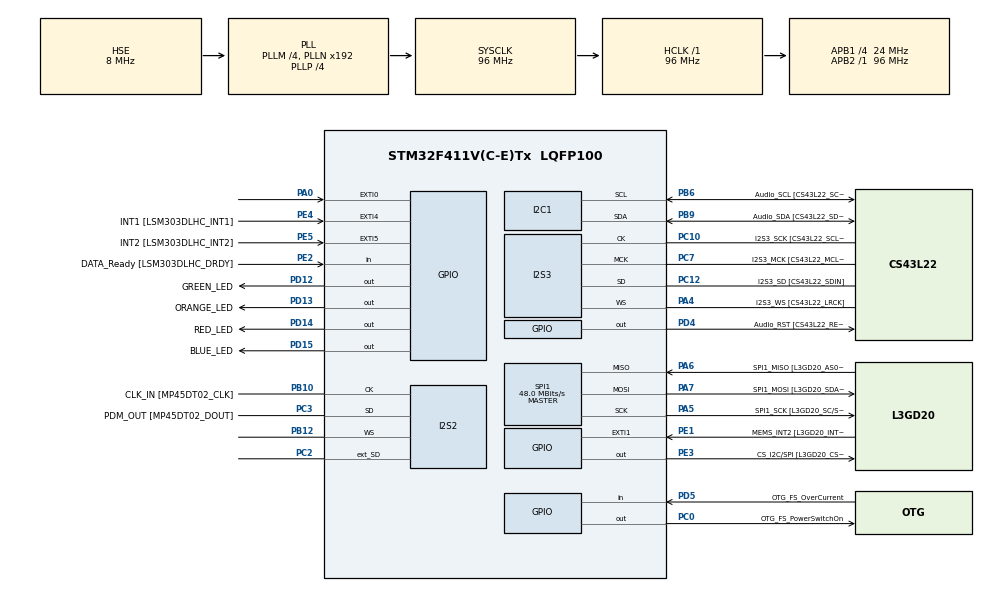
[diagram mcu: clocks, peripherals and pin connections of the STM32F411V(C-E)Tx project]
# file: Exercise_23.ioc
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FREERTOS.Tasks01=Orange_LED_Task,0,128,Start_Orange_LED_Task,Default,NULL,Dynamic,NULL,NULL;Green_LED_Task,0,128,Start_Green_LED_Task,Default,NULL,Dynamic,NULL,NULL;Deferred_Task,-1,128,Start_Deferred_Task,Default,NULL,Dynamic,NULL,NULL
I2S2.AudioFreq=I2S_AUDIOFREQ_96K
I2S2.ErrorAudioFreq=0.15 %
I2S2.FullDuplexMode=I2S_FULLDUPLEXMODE_ENABLE
I2S2.Instance=SPI$Index
I2S2.RealAudioFreq=96.153 KHz
I2S2.VirtualMode=I2S_MODE_MASTER
I2S3.AudioFreq=I2S_AUDIOFREQ_96K
I2S3.ErrorAudioFreq=-6.99 %
I2S3.FullDuplexMode=I2S_FULLDUPLEXMODE_DISABLE
I2S3.Instance=SPI$Index
I2S3.RealAudioFreq=89.285 KHz
I2S3.VirtualMode=I2S_MODE_MASTER
Mcu.Family=STM32F4
Mcu.Name=STM32F411V(C-E)Tx
Mcu.Package=LQFP100
NVIC.EXTI0_IRQn=true\:5\:0\:false\:false\:true\:true\:true\:true
NVIC.PriorityGroup=NVIC_PRIORITYGROUP_4
NVIC.TIM1_UP_TIM10_IRQn=true\:0\:0\:false\:false\:true\:false\:false\:true
NVIC.TimeBase=TIM1_UP_TIM10_IRQn
NVIC.TimeBaseIP=TIM1
PA0-WKUP.Signal=GPXTI0
PA10.GPIO_Label=OTG_FS_ID
PA10.Signal=USB_OTG_FS_ID
PA11.GPIO_Label=OTG_FS_DM
PA11.Signal=USB_OTG_FS_DM
PA12.GPIO_Label=OTG_FS_DP
PA12.Signal=USB_OTG_FS_DP
PA13.GPIO_Label=SWDIO
PA13.Mode=Serial_Wire
PA13.Signal=SYS_JTMS-SWDIO
PA14.GPIO_Label=SWCLK
PA14.Mode=Serial_Wire
PA14.Signal=SYS_JTCK-SWCLK
PA4.GPIO_Label=I2S3_WS [CS43L22_LRCK]
PA4.GPIO_Mode=GPIO_MODE_AF_PP
PA4.GPIO_PuPd=GPIO_NOPULL
PA4.GPIO_Speed=GPIO_SPEED_FREQ_LOW
PA4.Mode=Half_Duplex_Master
PA4.Signal=I2S3_WS
PA5.GPIO_Label=SPI1_SCK [L3GD20_SC/SPC]
PA5.Mode=Full_Duplex_Master
PA5.Signal=SPI1_SCK
PA6.GPIO_Label=SPI1_MISO [L3GD20_AS0/SDO]
PA6.Mode=Full_Duplex_Master
PA6.Signal=SPI1_MISO
PA7.GPIO_Label=SPI1_MOSI [L3GD20_SDA/SDI/SDO]
PA7.Mode=Full_Duplex_Master
PA7.Signal=SPI1_MOSI
PA9.GPIO_Label=VBUS_FS
PA9.Signal=USB_OTG_FS_VBUS
PB10.GPIO_Label=CLK_IN [MP45DT02_CLK]
PB10.Mode=Full_Duplex_Master
PB10.Signal=I2S2_CK
PB12.Mode=Full_Duplex_Master
PB12.Signal=I2S2_WS
PB3.GPIO_Label=SWO
PB3.Signal=SYS_JTDO-SWO
PB6.GPIO_Label=Audio_SCL [CS43L22_SCL]
PB6.GPIO_Mode=GPIO_MODE_AF_OD
PB6.GPIO_PuPd=GPIO_NOPULL
PB6.GPIO_Speed=GPIO_SPEED_FREQ_LOW
PB6.Mode=I2C
PB6.Signal=I2C1_SCL
PB9.GPIO_Label=Audio_SDA [CS43L22_SDA]
PB9.GPIO_Mode=GPIO_MODE_AF_OD
PB9.GPIO_PuPd=GPIO_NOPULL
PB9.GPIO_Speed=GPIO_SPEED_FREQ_LOW
PB9.Mode=I2C
PB9.Signal=I2C1_SDA
PC0.GPIO_Label=OTG_FS_PowerSwitchOn
PC0.PinState=GPIO_PIN_SET
PC0.Signal=GPIO_Output
PC10.GPIO_Label=I2S3_SCK [CS43L22_SCLK]
PC10.GPIO_Mode=GPIO_MODE_AF_PP
PC10.GPIO_PuPd=GPIO_NOPULL
PC10.GPIO_Speed=GPIO_SPEED_FREQ_LOW
PC10.Mode=Half_Duplex_Master
PC10.Signal=I2S3_CK
PC12.GPIO_Label=I2S3_SD [CS43L22_SDIN]
PC12.GPIO_Mode=GPIO_MODE_AF_PP
PC12.GPIO_PuPd=GPIO_NOPULL
PC12.GPIO_Speed=GPIO_SPEED_FREQ_LOW
PC12.Mode=Half_Duplex_Master
PC12.Signal=I2S3_SD
PC14-OSC32_IN.GPIO_Label=PC14-OSC32_IN
PC14-OSC32_IN.Mode=LSE-External-Oscillator
PC14-OSC32_IN.Signal=RCC_OSC32_IN
PC15-OSC32_OUT.GPIO_Label=PC15-OSC32_OUT
PC15-OSC32_OUT.Mode=LSE-External-Oscillator
PC15-OSC32_OUT.Signal=RCC_OSC32_OUT
PC2.Mode=Full_Duplex_Master
PC2.Signal=I2S2_ext_SD
PC3.GPIO_Label=PDM_OUT [MP45DT02_DOUT]
PC3.Mode=Full_Duplex_Master
PC3.Signal=I2S2_SD
PC7.GPIO_Label=I2S3_MCK [CS43L22_MCLK]
PC7.GPIO_Mode=GPIO_MODE_AF_PP
PC7.GPIO_PuPd=GPIO_NOPULL
PC7.GPIO_Speed=GPIO_SPEED_FREQ_LOW
PC7.Mode=Master_Clock_Activated
PC7.Signal=I2S3_MCK
PD12.GPIO_Label=GREEN_LED
PD12.GPIO_PuPd=GPIO_NOPULL
PD12.GPIO_Speed=GPIO_SPEED_FREQ_LOW
PD12.Signal=GPIO_Output
PD13.GPIO_Label=ORANGE_LED
PD13.GPIO_PuPd=GPIO_NOPULL
PD13.GPIO_Speed=GPIO_SPEED_FREQ_LOW
PD13.Signal=GPIO_Output
PD14.GPIO_Label=RED_LED
PD14.GPIO_PuPd=GPIO_NOPULL
PD14.GPIO_Speed=GPIO_SPEED_FREQ_LOW
PD14.Signal=GPIO_Output
PD15.GPIO_Label=BLUE_LED
PD15.GPIO_PuPd=GPIO_NOPULL
PD15.GPIO_Speed=GPIO_SPEED_FREQ_LOW
PD15.Signal=GPIO_Output
PD4.GPIO_Label=Audio_RST [CS43L22_RESET]
PD4.Signal=GPIO_Output
PD5.GPIO_Label=OTG_FS_OverCurrent
PD5.Signal=GPIO_Input
PE1.GPIO_Label=MEMS_INT2 [L3GD20_INT2]
PE1.GPIO_ModeDefaultEXTI=GPIO_MODE_EVT_RISING
PE1.Signal=GPXTI1
PE2.GPIO_Label=DATA_Ready [LSM303DLHC_DRDY]
PE2.Signal=GPIO_Input
PE3.GPIO_Label=CS_I2C/SPI [L3GD20_CS_I2C/SPI]
PE3.Signal=GPIO_Output
PE4.GPIO_Label=INT1 [LSM303DLHC_INT1]
PE4.GPIO_ModeDefaultEXTI=GPIO_MODE_EVT_RISING
PE4.Signal=GPXTI4
PE5.GPIO_Label=INT2 [LSM303DLHC_INT2]
PE5.GPIO_ModeDefaultEXTI=GPIO_MODE_EVT_RISING
PE5.Signal=GPXTI5
PH0\ -\ OSC_IN.GPIO_Label=PH0-OSC_IN
PH0\ -\ OSC_IN.Mode=HSE-External-Oscillator
PH0\ -\ OSC_IN.Signal=RCC_OSC_IN
PH1\ -\ OSC_OUT.GPIO_Label=PH1-OSC_OUT
PH1\ -\ OSC_OUT.Mode=HSE-External-Oscillator
PH1\ -\ OSC_OUT.Signal=RCC_OSC_OUT
ProjectManager.HeapSize=0x200
ProjectManager.StackSize=0x400
ProjectManager.TargetToolchain=STM32CubeIDE
RCC.48MHZClocksFreq_Value=48000000
RCC.AHBFreq_Value=96000000
RCC.APB1CLKDivider=RCC_HCLK_DIV4
RCC.APB1Freq_Value=24000000
RCC.APB1TimFreq_Value=48000000
RCC.APB2Freq_Value=96000000
RCC.APB2TimFreq_Value=96000000
RCC.CortexFreq_Value=96000000
RCC.HCLKFreq_Value=96000000
RCC.HSE_VALUE=8000000
RCC.HSI_VALUE=16000000
RCC.PLLI2SM=5
RCC.PLLI2SN=200
RCC.PLLM=4
RCC.PLLP=RCC_PLLP_DIV4
RCC.PLLQ=8
RCC.PLLSourceVirtual=RCC_PLLSOURCE_HSE
RCC.SYSCLKFreq_VALUE=96000000
RCC.SYSCLKSource=RCC_SYSCLKSOURCE_PLLCLK
RCC.VCOOutputFreq_Value=384000000
SPI1.BaudRatePrescaler=SPI_BAUDRATEPRESCALER_2
SPI1.CalculateBaudRate=48.0 MBits/s
SPI1.Direction=SPI_DIRECTION_2LINES
SPI1.Mode=SPI_MODE_MASTER
SPI1.VirtualType=VM_MASTER
VP_FREERTOS_VS_CMSIS_V1.Mode=CMSIS_V1
VP_SYS_VS_tim1.Mode=TIM1
board=STM32F411E-DISCO

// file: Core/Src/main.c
/* USER CODE BEGIN Header */
/**
  ******************************************************************************
  * @file           : main.c
  * @brief          : Main program body
  ******************************************************************************
  * @attention
  *
  * <h2><center>&copy; Copyright (c) 2024 STMicroelectronics.
  * All rights reserved.</center></h2>
  *
  * This software component is licensed by ST under Ultimate Liberty license
  * SLA0044, the "License"; You may not use this file except in compliance with
  * the License. You may obtain a copy of the License at:
  *                             www.st.com/SLA0044
  *
  ******************************************************************************
  */
/* USER CODE END Header */

#include "main.h"
#include "cmsis_os.h"

/* USER CODE BEGIN Includes */
#include "Deferred_Sever.h"
/* USER CODE END Includes */

I2C_HandleTypeDef hi2c1;

I2S_HandleTypeDef hi2s2;
I2S_HandleTypeDef hi2s3;

SPI_HandleTypeDef hspi1;

osThreadId Orange_LED_TaskHandle;
osThreadId Green_LED_TaskHandle;
osThreadId Deferred_TaskHandle;

void SystemClock_Config(void);
static void MX_GPIO_Init(void);
static void MX_I2C1_Init(void);
static void MX_I2S2_Init(void);
static void MX_I2S3_Init(void);
static void MX_SPI1_Init(void);
void Start_Orange_LED_Task(void const * argument);
void Start_Green_LED_Task(void const * argument);
void Start_Deferred_Task(void const * argument);

int main(void)
{

  /* MCU Configuration--------------------------------------------------------*/

  /* Reset of all peripherals, Initializes the Flash interface and the Systick. */
  HAL_Init();

  /* USER CODE BEGIN Init */
  InitEFSema();
  /* USER CODE END Init */

  /* Configure the system clock */
  SystemClock_Config();

  /* Initialize all configured peripherals */
  MX_GPIO_Init();
  MX_I2C1_Init();
  MX_I2S2_Init();
  MX_I2S3_Init();
  MX_SPI1_Init();

  /* Create the thread(s) */
  /* definition and creation of Orange_LED_Task */
  osThreadDef(Orange_LED_Task, Start_Orange_LED_Task, osPriorityNormal, 0, 128);
  Orange_LED_TaskHandle = osThreadCreate(osThread(Orange_LED_Task), NULL);

  /* definition and creation of Green_LED_Task */
  osThreadDef(Green_LED_Task, Start_Green_LED_Task, osPriorityNormal, 0, 128);
  Green_LED_TaskHandle = osThreadCreate(osThread(Green_LED_Task), NULL);

  /* definition and creation of Deferred_Task */
  osThreadDef(Deferred_Task, Start_Deferred_Task, osPriorityBelowNormal, 0, 128);
  Deferred_TaskHandle = osThreadCreate(osThread(Deferred_Task), NULL);

  /* Start scheduler */
  osKernelStart();

  /* We should never get here as control is now taken by the scheduler */

  /* Infinite loop */
  while (1)
  {

  }
}

void SystemClock_Config(void)
{
  RCC_OscInitTypeDef RCC_OscInitStruct = {0};
  RCC_ClkInitTypeDef RCC_ClkInitStruct = {0};
  RCC_PeriphCLKInitTypeDef PeriphClkInitStruct = {0};

  /** Configure the main internal regulator output voltage
  */
  __HAL_RCC_PWR_CLK_ENABLE();
  __HAL_PWR_VOLTAGESCALING_CONFIG(PWR_REGULATOR_VOLTAGE_SCALE1);
  /** Initializes the CPU, AHB and APB busses clocks
  */
  RCC_OscInitStruct.OscillatorType = RCC_OSCILLATORTYPE_HSE;
  RCC_OscInitStruct.HSEState = RCC_HSE_ON;
  RCC_OscInitStruct.PLL.PLLState = RCC_PLL_ON;
  RCC_OscInitStruct.PLL.PLLSource = RCC_PLLSOURCE_HSE;
  RCC_OscInitStruct.PLL.PLLM = 4;
  RCC_OscInitStruct.PLL.PLLN = 192;
  RCC_OscInitStruct.PLL.PLLP = RCC_PLLP_DIV4;
  RCC_OscInitStruct.PLL.PLLQ = 8;
  if (HAL_RCC_OscConfig(&RCC_OscInitStruct) != HAL_OK)
  {
    Error_Handler();
  }
  /** Initializes the CPU, AHB and APB busses clocks
  */
  RCC_ClkInitStruct.ClockType = RCC_CLOCKTYPE_HCLK|RCC_CLOCKTYPE_SYSCLK
                              |RCC_CLOCKTYPE_PCLK1|RCC_CLOCKTYPE_PCLK2;
  RCC_ClkInitStruct.SYSCLKSource = RCC_SYSCLKSOURCE_PLLCLK;
  RCC_ClkInitStruct.AHBCLKDivider = RCC_SYSCLK_DIV1;
  RCC_ClkInitStruct.APB1CLKDivider = RCC_HCLK_DIV4;
  RCC_ClkInitStruct.APB2CLKDivider = RCC_HCLK_DIV1;

  if (HAL_RCC_ClockConfig(&RCC_ClkInitStruct, FLASH_LATENCY_3) != HAL_OK)
  {
    Error_Handler();
  }
  PeriphClkInitStruct.PeriphClockSelection = RCC_PERIPHCLK_I2S;
  PeriphClkInitStruct.PLLI2S.PLLI2SN = 200;
  PeriphClkInitStruct.PLLI2S.PLLI2SM = 5;
  PeriphClkInitStruct.PLLI2S.PLLI2SR = 2;
  if (HAL_RCCEx_PeriphCLKConfig(&PeriphClkInitStruct) != HAL_OK)
  {
    Error_Handler();
  }
}

static void MX_I2C1_Init(void)
{

  hi2c1.Instance = I2C1;
  hi2c1.Init.ClockSpeed = 100000;
  hi2c1.Init.DutyCycle = I2C_DUTYCYCLE_2;
  hi2c1.Init.OwnAddress1 = 0;
  hi2c1.Init.AddressingMode = I2C_ADDRESSINGMODE_7BIT;
  hi2c1.Init.DualAddressMode = I2C_DUALADDRESS_DISABLE;
  hi2c1.Init.OwnAddress2 = 0;
  hi2c1.Init.GeneralCallMode = I2C_GENERALCALL_DISABLE;
  hi2c1.Init.NoStretchMode = I2C_NOSTRETCH_DISABLE;
  if (HAL_I2C_Init(&hi2c1) != HAL_OK)
  {
    Error_Handler();
  }

}

static void MX_I2S2_Init(void)
{

  hi2s2.Instance = SPI2;
  hi2s2.Init.Mode = I2S_MODE_MASTER_TX;
  hi2s2.Init.Standard = I2S_STANDARD_PHILIPS;
  hi2s2.Init.DataFormat = I2S_DATAFORMAT_16B;
  hi2s2.Init.MCLKOutput = I2S_MCLKOUTPUT_DISABLE;
  hi2s2.Init.AudioFreq = I2S_AUDIOFREQ_96K;
  hi2s2.Init.CPOL = I2S_CPOL_LOW;
  hi2s2.Init.ClockSource = I2S_CLOCK_PLL;
  hi2s2.Init.FullDuplexMode = I2S_FULLDUPLEXMODE_ENABLE;
  if (HAL_I2S_Init(&hi2s2) != HAL_OK)
  {
    Error_Handler();
  }

}

static void MX_I2S3_Init(void)
{

  hi2s3.Instance = SPI3;
  hi2s3.Init.Mode = I2S_MODE_MASTER_TX;
  hi2s3.Init.Standard = I2S_STANDARD_PHILIPS;
  hi2s3.Init.DataFormat = I2S_DATAFORMAT_16B;
  hi2s3.Init.MCLKOutput = I2S_MCLKOUTPUT_ENABLE;
  hi2s3.Init.AudioFreq = I2S_AUDIOFREQ_96K;
  hi2s3.Init.CPOL = I2S_CPOL_LOW;
  hi2s3.Init.ClockSource = I2S_CLOCK_PLL;
  hi2s3.Init.FullDuplexMode = I2S_FULLDUPLEXMODE_DISABLE;
  if (HAL_I2S_Init(&hi2s3) != HAL_OK)
  {
    Error_Handler();
  }

}

static void MX_SPI1_Init(void)
{

  /* SPI1 parameter configuration*/
  hspi1.Instance = SPI1;
  hspi1.Init.Mode = SPI_MODE_MASTER;
  hspi1.Init.Direction = SPI_DIRECTION_2LINES;
  hspi1.Init.DataSize = SPI_DATASIZE_8BIT;
  hspi1.Init.CLKPolarity = SPI_POLARITY_LOW;
  hspi1.Init.CLKPhase = SPI_PHASE_1EDGE;
  hspi1.Init.NSS = SPI_NSS_SOFT;
  hspi1.Init.BaudRatePrescaler = SPI_BAUDRATEPRESCALER_2;
  hspi1.Init.FirstBit = SPI_FIRSTBIT_MSB;
  hspi1.Init.TIMode = SPI_TIMODE_DISABLE;
  hspi1.Init.CRCCalculation = SPI_CRCCALCULATION_DISABLE;
  hspi1.Init.CRCPolynomial = 10;
  if (HAL_SPI_Init(&hspi1) != HAL_OK)
  {
    Error_Handler();
  }

}

static void MX_GPIO_Init(void)
{
  GPIO_InitTypeDef GPIO_InitStruct = {0};

  /* GPIO Ports Clock Enable */
  __HAL_RCC_GPIOE_CLK_ENABLE();
  __HAL_RCC_GPIOC_CLK_ENABLE();
  __HAL_RCC_GPIOH_CLK_ENABLE();
  __HAL_RCC_GPIOA_CLK_ENABLE();
  __HAL_RCC_GPIOB_CLK_ENABLE();
  __HAL_RCC_GPIOD_CLK_ENABLE();

  /*Configure GPIO pin Output Level */
  HAL_GPIO_WritePin(CS_I2C_SPI_GPIO_Port, CS_I2C_SPI_Pin, GPIO_PIN_RESET);

  /*Configure GPIO pin Output Level */
  HAL_GPIO_WritePin(OTG_FS_PowerSwitchOn_GPIO_Port, OTG_FS_PowerSwitchOn_Pin, GPIO_PIN_SET);

  /*Configure GPIO pin Output Level */
  HAL_GPIO_WritePin(GPIOD, GREEN_LED_Pin|ORANGE_LED_Pin|RED_LED_Pin|BLUE_LED_Pin
                          |Audio_RST_Pin, GPIO_PIN_RESET);

  /*Configure GPIO pin : DATA_Ready_Pin */
  GPIO_InitStruct.Pin = DATA_Ready_Pin;
  GPIO_InitStruct.Mode = GPIO_MODE_INPUT;
  GPIO_InitStruct.Pull = GPIO_NOPULL;
  HAL_GPIO_Init(DATA_Ready_GPIO_Port, &GPIO_InitStruct);

  /*Configure GPIO pin : CS_I2C_SPI_Pin */
  GPIO_InitStruct.Pin = CS_I2C_SPI_Pin;
  GPIO_InitStruct.Mode = GPIO_MODE_OUTPUT_PP;
  GPIO_InitStruct.Pull = GPIO_NOPULL;
  GPIO_InitStruct.Speed = GPIO_SPEED_FREQ_LOW;
  HAL_GPIO_Init(CS_I2C_SPI_GPIO_Port, &GPIO_InitStruct);

  /*Configure GPIO pins : INT1_Pin INT2_Pin MEMS_INT2_Pin */
  GPIO_InitStruct.Pin = INT1_Pin|INT2_Pin|MEMS_INT2_Pin;
  GPIO_InitStruct.Mode = GPIO_MODE_EVT_RISING;
  GPIO_InitStruct.Pull = GPIO_NOPULL;
  HAL_GPIO_Init(GPIOE, &GPIO_InitStruct);

  /*Configure GPIO pin : OTG_FS_PowerSwitchOn_Pin */
  GPIO_InitStruct.Pin = OTG_FS_PowerSwitchOn_Pin;
  GPIO_InitStruct.Mode = GPIO_MODE_OUTPUT_PP;
  GPIO_InitStruct.Pull = GPIO_NOPULL;
  GPIO_InitStruct.Speed = GPIO_SPEED_FREQ_LOW;
  HAL_GPIO_Init(OTG_FS_PowerSwitchOn_GPIO_Port, &GPIO_InitStruct);

  /*Configure GPIO pin : PA0 */
  GPIO_InitStruct.Pin = GPIO_PIN_0;
  GPIO_InitStruct.Mode = GPIO_MODE_IT_RISING;
  GPIO_InitStruct.Pull = GPIO_NOPULL;
  HAL_GPIO_Init(GPIOA, &GPIO_InitStruct);

  /*Configure GPIO pins : GREEN_LED_Pin ORANGE_LED_Pin RED_LED_Pin BLUE_LED_Pin
                           Audio_RST_Pin */
  GPIO_InitStruct.Pin = GREEN_LED_Pin|ORANGE_LED_Pin|RED_LED_Pin|BLUE_LED_Pin
                          |Audio_RST_Pin;
  GPIO_InitStruct.Mode = GPIO_MODE_OUTPUT_PP;
  GPIO_InitStruct.Pull = GPIO_NOPULL;
  GPIO_InitStruct.Speed = GPIO_SPEED_FREQ_LOW;
  HAL_GPIO_Init(GPIOD, &GPIO_InitStruct);

  /*Configure GPIO pin : VBUS_FS_Pin */
  GPIO_InitStruct.Pin = VBUS_FS_Pin;
  GPIO_InitStruct.Mode = GPIO_MODE_INPUT;
  GPIO_InitStruct.Pull = GPIO_NOPULL;
  HAL_GPIO_Init(VBUS_FS_GPIO_Port, &GPIO_InitStruct);

  /*Configure GPIO pins : OTG_FS_ID_Pin OTG_FS_DM_Pin OTG_FS_DP_Pin */
  GPIO_InitStruct.Pin = OTG_FS_ID_Pin|OTG_FS_DM_Pin|OTG_FS_DP_Pin;
  GPIO_InitStruct.Mode = GPIO_MODE_AF_PP;
  GPIO_InitStruct.Pull = GPIO_NOPULL;
  GPIO_InitStruct.Speed = GPIO_SPEED_FREQ_VERY_HIGH;
  GPIO_InitStruct.Alternate = GPIO_AF10_OTG_FS;
  HAL_GPIO_Init(GPIOA, &GPIO_InitStruct);

  /*Configure GPIO pin : OTG_FS_OverCurrent_Pin */
  GPIO_InitStruct.Pin = OTG_FS_OverCurrent_Pin;
  GPIO_InitStruct.Mode = GPIO_MODE_INPUT;
  GPIO_InitStruct.Pull = GPIO_NOPULL;
  HAL_GPIO_Init(OTG_FS_OverCurrent_GPIO_Port, &GPIO_InitStruct);

  /* EXTI interrupt init*/
  HAL_NVIC_SetPriority(EXTI0_IRQn, 5, 0);
  HAL_NVIC_EnableIRQ(EXTI0_IRQn);

}

void Start_Orange_LED_Task(void const * argument)
{
  /* USER CODE BEGIN 5 */
  /* Infinite loop */
  for(;;)
  {
    HAL_GPIO_TogglePin(ORANGE_LED_GPIO_Port, ORANGE_LED_Pin);
    osDelay(500);
    HAL_GPIO_TogglePin(ORANGE_LED_GPIO_Port, ORANGE_LED_Pin);
    osDelay(1500);
  }
  /* USER CODE END 5 */
}

void Start_Green_LED_Task(void const * argument)
{
  /* USER CODE BEGIN Start_Green_LED_Task */
  /* Infinite loop */
  for(;;)
  {
    HAL_GPIO_TogglePin(GREEN_LED_GPIO_Port, GREEN_LED_Pin);
	osDelay(500);
	HAL_GPIO_TogglePin(GREEN_LED_GPIO_Port, GREEN_LED_Pin);
	osDelay(3500);
  }
  /* USER CODE END Start_Green_LED_Task */
}

void Start_Deferred_Task(void const * argument)
{
  /* USER CODE BEGIN Start_Deferred_Task */
  uint32_t rate = 500;
  uint32_t period = 4;
  /* Infinite loop */
  for(;;)
  {
    WaitEFSema();
    for(uint32_t i = 0 ;i < 1000 * period/rate; i++ )
    {
      HAL_GPIO_TogglePin(BLUE_LED_GPIO_Port, BLUE_LED_Pin);
      osDelay(rate);
    }
    HAL_GPIO_WritePin(RED_LED_GPIO_Port, RED_LED_Pin, GPIO_PIN_RESET);
  }

  for(;;)
  {
    osDelay(1);
  }
  /* USER CODE END Start_Deferred_Task */
}

void HAL_TIM_PeriodElapsedCallback(TIM_HandleTypeDef *htim)
{
  if (htim->Instance == TIM1) {
    HAL_IncTick();
  }
}

void Error_Handler(void)
{
}

/************************ (C) COPYRIGHT STMicroelectronics *****END OF FILE****/
